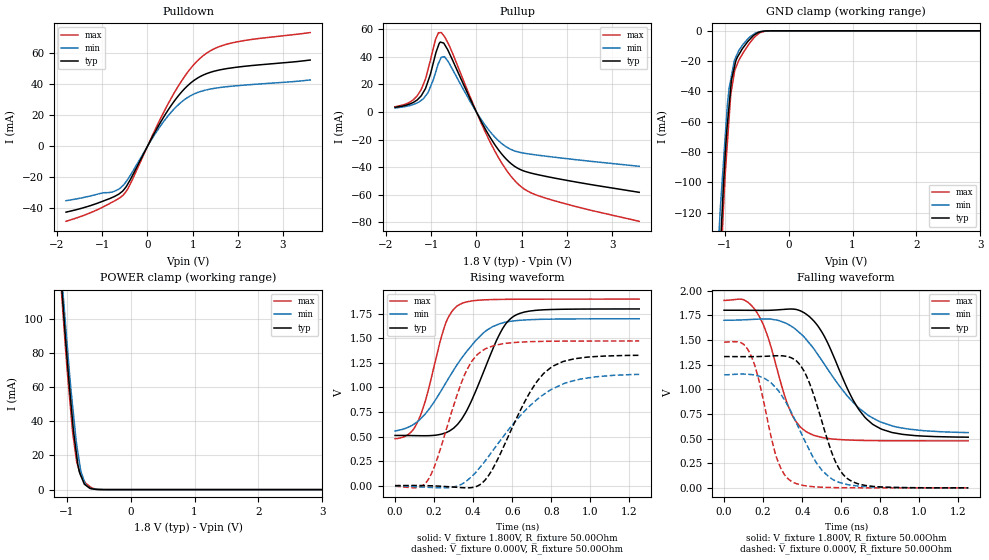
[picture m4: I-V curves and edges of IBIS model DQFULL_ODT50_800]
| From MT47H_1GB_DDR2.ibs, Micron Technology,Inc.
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|MODEL DQFULL_ODT50_800 (Full-Drv IO Drvr with 50 ohm ODT Sub-model,667/800)
[Model]   DQFULL_ODT50_800
Model_type   I/O
Vinl = 700.000mV
Vinh = 1.10V
Vmeas = 900.000mV
Vref = 900.000mV
Cref = 0.0pF
Rref = 25.000Ohm
|   typ   min   max
C_comp   2.632pF   2.553pF   2.862pF
| Note: C_comp decreases when the ODT circuit is enabled.
[Model Spec]
| Input threshold voltage corners
Vinl   0.70V   0.650V   0.750V
Vinh   1.10V   1.05V   1.150V
| Measurement voltage corners
Vmeas   0.900V   0.850V   0.950V
| Timing spec test load voltage corners
| Vref   0.900V   0.850V   0.950V
| [Receiver Thresholds]
[Voltage Range]   1.800V   1.700V   1.900V
[Pullup Reference]   1.800V   1.700V   1.900V
| Junction Temperature (Ambient temp is 25C typ, 85C min, 0C max)
[Temperature Range]   40.0   100.0   0.0
[Add Submodel]
| Submodel Name   Mode
50ohm_ODT_800   Non-Driving
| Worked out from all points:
|   slope of the pulldown table from 0 to 0.27 V, typ, clamps not added: 18.6 ohm
|   slope of the pullup table from 0 to 0.27 V, typ, clamps not added: 16.3 ohm
|   GND clamp passes 1 mA (typ) near -0.47 V on its own axis
|   POWER clamp passes 1 mA (typ) near -0.64 V on its own axis
|   falling waveform, V_fixture 1.800V, R_fixture 50.00Ohm: 20-80 % time 188ps typ, 269ps min, 134ps max; typ from 1.8 V to 0.514 V
|   rising waveform, V_fixture 1.800V, R_fixture 50.00Ohm: 20-80 % time 167ps typ, 234ps min, 114ps max; typ from 0.511 V to 1.8 V
|   rising waveform, V_fixture 0.000V, R_fixture 50.00Ohm: 20-80 % time 202ps typ, 293ps min, 149ps max; typ from 0 V to 1.33 V
|   falling waveform, V_fixture 0.000V, R_fixture 50.00Ohm: 20-80 % time 133ps typ, 181ps min, 105ps max; typ from 1.33 V to 0 V
[Pulldown]
|   Voltage   I(typ)   I(min)   I(max)
-1.8V     -42.4mA    -35.02mA   -48.3mA
-1.265V   -38.24mA   -31.99mA   -42.86mA
-780mV    -32.96mA   -29.43mA   -35.98mA
-530mV    -28.22mA   -24.95mA   -31.25mA
-355mV    -20.13mA   -17.54mA   -22.86mA
155mV     8.542mA    7.366mA    9.813mA
500mV     25.32mA    21.22mA    29.74mA
860mV     38.35mA    31mA       46.67mA
1.23V     45.98mA    35.91mA    58.46mA
1.515V    48.8mA     37.62mA    63.49mA
1.95V     51.01mA    39.07mA    67.28mA
3.6V      55.72mA    42.87mA    73.44mA
[GND Clamp]
|   Voltage   I(typ)   I(min)   I(max)
-1.8V     -885.8mA   -819.1mA   -938.5mA
-1.12V    -188.2mA   -159.6mA   -210mA
-1.07V    -145.5mA   -118.5mA   -164mA
-1.02V    -102.7mA   -87.53mA   -118mA
-955mV    -60.48mA   -47.58mA   -72.46mA
-905mV    -37.56mA   -32.23mA   -42.09mA
-890mV    -31.76mA   -28.89mA   -38.27mA
-840mV    -22.52mA   -18.73mA   -25.82mA
-780mV    -15.87mA   -13.11mA   -19.6mA
-520mV    -2.278mA   -1.509mA   -3.635mA
-255mV    -5.692uA   -11.73uA   -4.466uA
3.6V      0A         0A         0A
[Pullup]
|   Voltage   I(typ)   I(min)   I(max)
-1.8V     3.413mA    2.941mA    3.844mA
-1.455V   6.074mA    4.877mA    7.517mA
-1.22V    11.82mA    8.537mA    16.48mA
-1.07V    22.41mA    14.16mA    30.98mA
-905mV    41.97mA    28.57mA    52.66mA
-775mV    50.52mA    39.72mA    57.57mA
-635mV    45.14mA    37.09mA    50.37mA
305mV     -18.49mA   -14.29mA   -21.87mA
605mV     -32.19mA   -24.01mA   -39.29mA
890mV     -40.31mA   -28.67mA   -51.2mA
1.545V    -46.71mA   -32.05mA   -62.56mA
3.6V      -58.22mA   -39.34mA   -79.23mA
[POWER Clamp]
|   Voltage   I(typ)   I(min)   I(max)
-1.8V     517.7mA    504.2mA    528.2mA
-1.075V   117.8mA    123.6mA    112.9mA
-1.07V    115.2mA    121.1mA    110.2mA
-1.02V    89.9mA     98.08mA    84.09mA
-955mV    60.02mA    68.19mA    54.51mA
-905mV    39.34mA    48.51mA    33.18mA
-845mV    20.58mA    26.85mA    16.88mA
-805mV    11.14mA    17.26mA    11.43mA
-775mV    7.973mA    10.43mA    7.86mA
-710mV    2.815mA    3.328mA    4.203mA
-635mV    750.9uA    807.6uA    1.771mA
3.6V      0A         0A         0A
[Ramp]
R_load = 50.00Ohm
|   typ   min   max
dV/dt_r   796.445mV/202.446ps 681.725mV/293.265ps 887.808mV/149.185ps
dV/dt_f   771.872mV/187.724ps 683.110mV/269.311ps 853.780mV/134.238ps
[Falling Waveform]
V_fixture = 1.800V
V_fixture_min = 1.700V
V_fixture_max = 1.900V
R_fixture = 50.00Ohm
|   Time   V(typ)   V(min)   V(max)
0s        1.8V       1.699V     1.899V
100ps     1.8V       1.703V     1.907V
170ps     1.799V     1.71V      1.772V
230ps     1.799V     1.711V     1.496V
330ps     1.812V     1.655V     821.4mV
420ps     1.761V     1.505V     569.8mV
510ps     1.548V     1.263V     507.3mV
680ps     824.8mV    827.4mV    481.9mV
760ps     645.4mV    709.6mV    478.9mV
1.25ns    513.7mV    560.2mV    476.3mV
[Rising Waveform]
V_fixture = 1.800V
V_fixture_min = 1.700V
V_fixture_max = 1.900V
R_fixture = 50.00Ohm
|   Time   V(typ)   V(min)   V(max)
0s        510.8mV    557mV      476.9mV
70ps      510.1mV    596.1mV    524.1mV
120ps     508.4mV    659.8mV    666.1mV
260ps     538.3mV    1.047V     1.659V
320ps     623.7mV    1.239V     1.833V
380ps     816mV      1.399V     1.877V
470ps     1.243V     1.584V     1.894V
550ps     1.598V     1.657V     1.898V
610ps     1.728V     1.678V     1.899V
1.25ns    1.8V       1.7V       1.9V
[Rising Waveform]
V_fixture = 0.000V
V_fixture_min = 0.000V
V_fixture_max = 0.000V
R_fixture = 50.00Ohm
|   Time   V(typ)   V(min)   V(max)
0s        157.3uV    -3.125mV   -6.22mV
120ps     709.9uV    -12.36mV   -18.53mV
170ps     -1.132mV   -17.63mV   61.17mV
210ps     -4.293mV   -21.8mV    239.9mV
360ps     -22.97mV   36.36mV    1.146V
460ps     53.71mV    247.1mV    1.392V
680ps     913.5mV    793.6mV    1.465V
770ps     1.158V     940.7mV    1.47V
920ps     1.293V     1.071V     1.473V
1.25ns    1.328V     1.133V     1.473V
[Falling Waveform]
V_fixture = 0.000V
V_fixture_min = 0.000V
V_fixture_max = 0.000V
R_fixture = 50.00Ohm
|   Time   V(typ)   V(min)   V(max)
0s        1.331V     1.145V     1.476V
130ps     1.33V      1.15V      1.373V
170ps     1.331V     1.137V     1.154V
270ps     1.339V     1.004V     300.2mV
350ps     1.312V     742.9mV    58.51mV
420ps     1.141V     450.5mV    19.62mV
500ps     678.8mV    180.6mV    6.426mV
570ps     265.9mV    71.07mV    2.612mV
630ps     96.45mV    33.54mV    1.362mV
1.25ns    219.2uV    333.8uV    65.62uV
